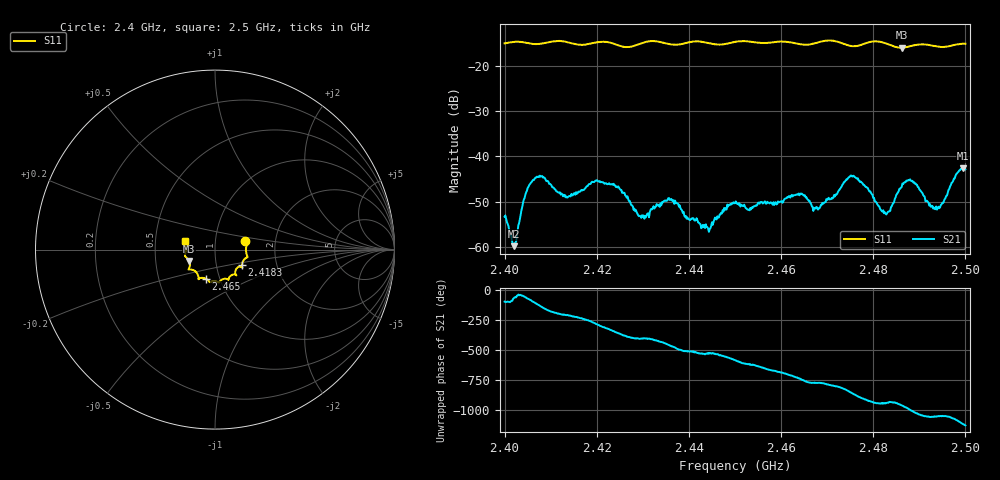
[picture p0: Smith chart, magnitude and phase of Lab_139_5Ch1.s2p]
# Hz S RI R 50
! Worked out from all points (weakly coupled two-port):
!   601 points, 2.4 GHz to 2.5 GHz, reference 50 ohm
!   highest |S21| = -42.61 dB at 2.4995 GHz (marker M1); lowest = -59.8 dB at 2.402 GHz (marker M2)
!   lowest |S11| = -16.1 dB at 2.4862 GHz (marker M3), VSWR 1.37, Z = 37.1 - j4.8 ohm
!   |S11| at or under -10 dB: start of sweep to end of sweep
!   S12 and S22 are empty: the file has one direction only
!   S11 on the Smith chart (normalised r, x): 2.4 GHz: 1.40, +0.13; 2.4183 GHz: 1.33, -0.24; 2.465 GHz: 0.86, -0.29; 2.5 GHz: 0.71, +0.07
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2.4e9  0.1693 0.0459  -0.000406 -0.00213  0 0  0 0
2.402e9  0.1786 0.0368  0.000335 -0.000971  0 0  0 0
2.4045e9  0.1772 0.0238  0.00164 -0.00342  0 0  0 0
2.4065e9  0.1727 0.00303  -0.00174 -0.00539  0 0  0 0
2.413167e9  0.178 -0.044  -0.00321 0.00192  0 0  0 0
2.416667e9  0.1548 -0.068  -0.00229 0.00361  0 0  0 0
2.418333e9  0.1501 -0.087  -0.000914 0.00488  0 0  0 0
2.424167e9  0.1413 -0.0954  0.00458 0.000448  0 0  0 0
2.4295e9  0.1129 -0.1335  0.00148 -0.00161  0 0  0 0
2.433333e9  0.1174 -0.1411  0.00122 -0.00267  0 0  0 0
2.436167e9  0.0977 -0.14  -0.00106 -0.00324  0 0  0 0
2.444333e9  0.0668 -0.1635  -0.00146 -0.000198  0 0  0 0
2.45e9  0.0251 -0.1807  -0.00215 0.00217  0 0  0 0
2.465e9  -0.0525 -0.1616  0.00303 -0.00209  0 0  0 0
2.466667e9  -0.0714 -0.1572  0.00163 -0.00231  0 0  0 0
2.4755e9  -0.1052 -0.125  -0.00467 -0.00378  0 0  0 0
2.483333e9  -0.1414 -0.0963  -0.00195 0.00152  0 0  0 0
2.486167e9  -0.144 -0.063  -0.00236 0.00395  0 0  0 0
2.4885e9  -0.1601 -0.0434  0.00141 0.0052  0 0  0 0
2.493833e9  -0.1619 -0.0106  0.00227 0.00127  0 0  0 0
2.4995e9  -0.1682 0.0445  0.006 -0.00433  0 0  0 0
2.5e9  -0.1674 0.0471  0.00499 -0.00524  0 0  0 0
